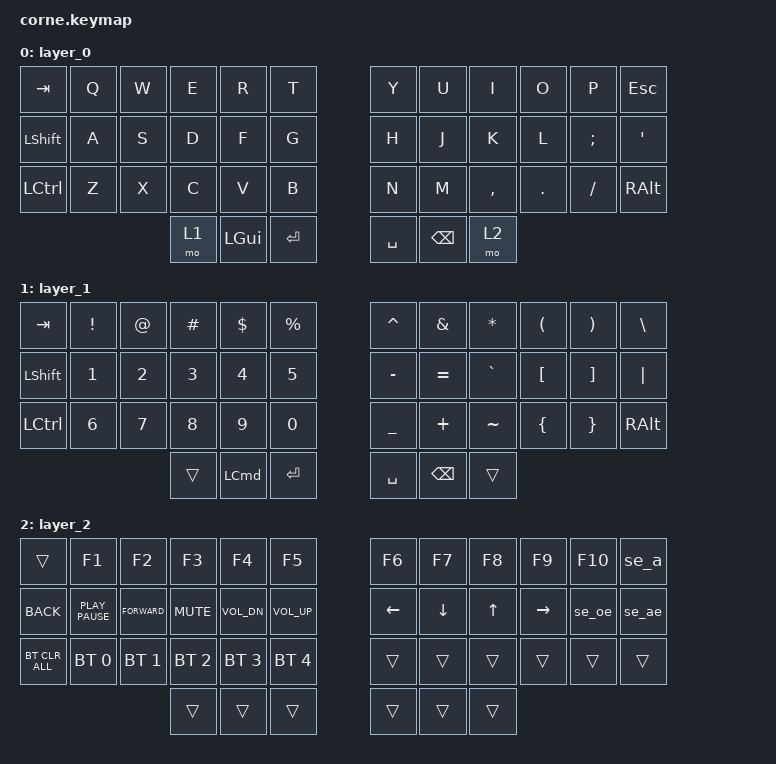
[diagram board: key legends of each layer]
#include <behaviors.dtsi>
#include <dt-bindings/zmk/bt.h>
#include <dt-bindings/zmk/keys.h>

/ {
    macros {
        acute_e: acute_e {
            compatible = "zmk,behavior-macro";
            #binding-cells = <0>;
            bindings = <&kp LA(E) &kp E>;
            label = "ACUTE_E";
        };

        se_a: se_a {
            compatible = "zmk,behavior-macro";
            #binding-cells = <0>;
            bindings = <&kp LA(A)>;
            label = "SE_A";
        };

        se_ae: se_ae {
            compatible = "zmk,behavior-macro";
            #binding-cells = <0>;
            bindings = <&kp LA(U) &kp A>;
            label = "SE_AE";
        };

        se_oe: se_oe {
            compatible = "zmk,behavior-macro";
            #binding-cells = <0>;
            bindings = <&kp LA(U) &kp O>;
            label = "SE_OE";
        };
    };

    combos {
        compatible = "zmk,combos";

        acute_e {
            bindings = <&acute_e>;
            key-positions = <15 1>;
        };

        se_ao {
            bindings = <&se_a>;
            key-positions = <13 14>;
        };

        se_ae {
            bindings = <&se_ae>;
            key-positions = <13 15>;
        };

        se_oe {
            bindings = <&se_oe>;
            key-positions = <14 15>;
        };
    };

    keymap {
        compatible = "zmk,keymap";

        layer_0 {
            bindings = <
&kp TAB         &kp Q  &kp W  &kp E  &kp R     &kp T        &kp Y      &kp U     &kp I      &kp O    &kp P     &kp ESCAPE
&kp LEFT_SHIFT  &kp A  &kp S  &kp D  &kp F     &kp G        &kp H      &kp J     &kp K      &kp L    &kp SEMI  &kp APOS
&kp LCTRL       &kp Z  &kp X  &kp C  &kp V     &kp B        &kp N      &kp M     &kp COMMA  &kp DOT  &kp FSLH  &kp RIGHT_ALT
                              &mo 1  &kp LGUI  &kp ENTER    &kp SPACE  &kp BSPC  &mo 2
            >;
        };

        layer_1 {
            bindings = <
&kp TAB    &kp EXCL  &kp AT  &kp HASH  &kp DOLLAR  &kp PERCENT    &kp CARET  &kp AMPS       &kp ASTRK  &kp LEFT_PARENTHESIS  &kp RIGHT_PARENTHESIS  &kp BACKSLASH
&kp LSHFT  &kp N1    &kp N2  &kp N3    &kp N4      &kp N5         &kp MINUS  &kp EQUAL      &kp GRAVE  &kp LEFT_BRACKET      &kp RIGHT_BRACKET      &kp PIPE
&kp LCTRL  &kp N6    &kp N7  &kp N8    &kp N9      &kp N0         &kp UNDER  &kp PLUS       &kp TILDE  &kp LEFT_BRACE        &kp RIGHT_BRACE        &kp RIGHT_ALT
                             &trans    &kp LCMD    &kp RETURN     &kp SPACE  &kp BACKSPACE  &trans
            >;
        };

        layer_2 {
            bindings = <
&trans          &kp F1            &kp F2         &kp F3        &kp F4        &kp F5          &kp F6    &kp F7    &kp F8        &kp F9     &kp F10  &se_a
&kp K_BACK      &kp K_PLAY_PAUSE  &kp K_FORWARD  &kp K_MUTE    &kp C_VOL_DN  &kp C_VOL_UP    &kp LEFT  &kp DOWN  &kp UP_ARROW  &kp RIGHT  &se_oe   &se_ae
&bt BT_CLR_ALL  &bt BT_SEL 0      &bt BT_SEL 1   &bt BT_SEL 2  &bt BT_SEL 3  &bt BT_SEL 4    &trans    &trans    &trans        &trans     &trans   &trans
                                                 &trans        &trans        &trans          &trans    &trans    &trans
            >;
        };
    };
};
